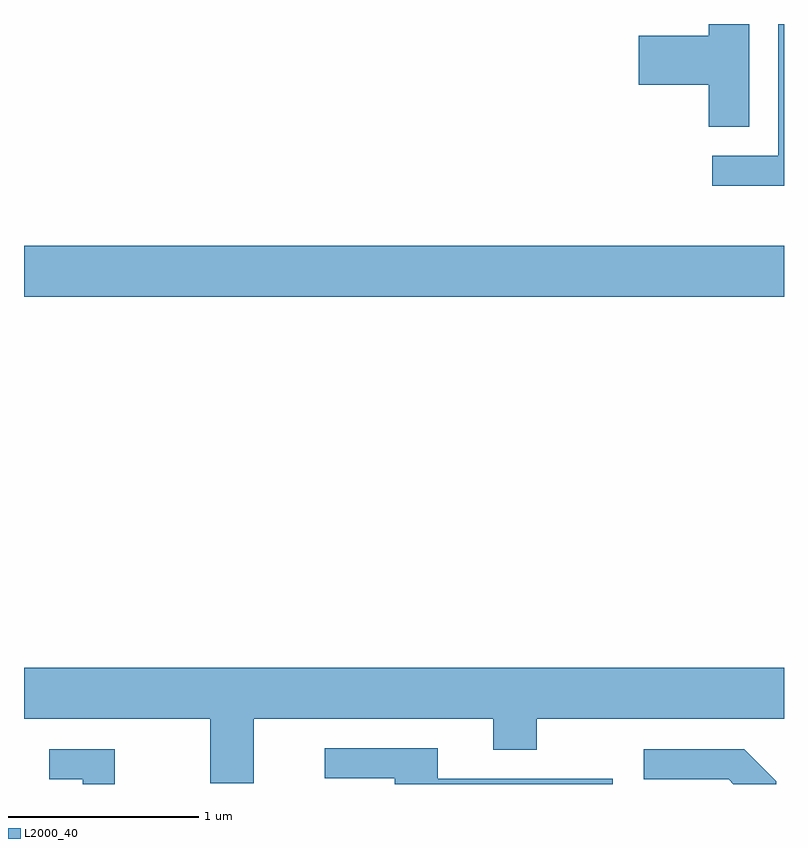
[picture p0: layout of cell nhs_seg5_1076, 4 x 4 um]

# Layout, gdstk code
import gdstk
lib = gdstk.Library(unit=1e-6, precision=1e-09)
def R(c, l, rs):  # rectangles x0, y0, x1, y1
    for r in rs: c.add(gdstk.rectangle(r[:2], r[2:], *l))
def P(c, l, *ps):  # polygons
    for p in ps: c.add(gdstk.Polygon(p, *l))
L2000_40 = (2000, 40)

nhs_seg5_1076 = lib.new_cell('nhs_seg5_1076')
R(nhs_seg5_1076, L2000_40, [(217.611,1394.636,221.611,1394.904)])
P(nhs_seg5_1076, L2000_40, [(221.429,1396.072),(221.216,1396.072),(221.216,1396.009),(220.846,1396.009),(220.846,1395.751),(221.216,1395.751),(221.216,1395.531),(221.429,1395.531)],
  [(221.611,1396.072),(221.581,1396.072),(221.581,1395.379),(221.233,1395.379),(221.233,1395.221),(221.611,1395.221)],
  [(218.819,1392.416),(220.081,1392.416),(220.081,1392.251),(220.309,1392.251),(220.309,1392.416),(221.611,1392.416),(221.611,1392.684),(217.611,1392.684),(217.611,1392.416),(218.591,1392.416),(218.591,1392.076),(218.819,1392.076)],
  [(220.709,1392.099),(219.789,1392.099),(219.789,1392.259),(219.193,1392.259),(219.193,1392.101),(219.561,1392.101),(219.561,1392.072),(220.709,1392.072)],
  [(221.569,1392.087),(221.402,1392.254),(220.873,1392.254),(220.873,1392.096),(221.319,1392.096),(221.343,1392.072),(221.569,1392.072)],
  [(218.089,1392.254),(217.743,1392.254),(217.743,1392.096),(217.921,1392.096),(217.921,1392.072),(218.089,1392.072)])

lib.write_gds('nhs_seg5_1076.gds')
